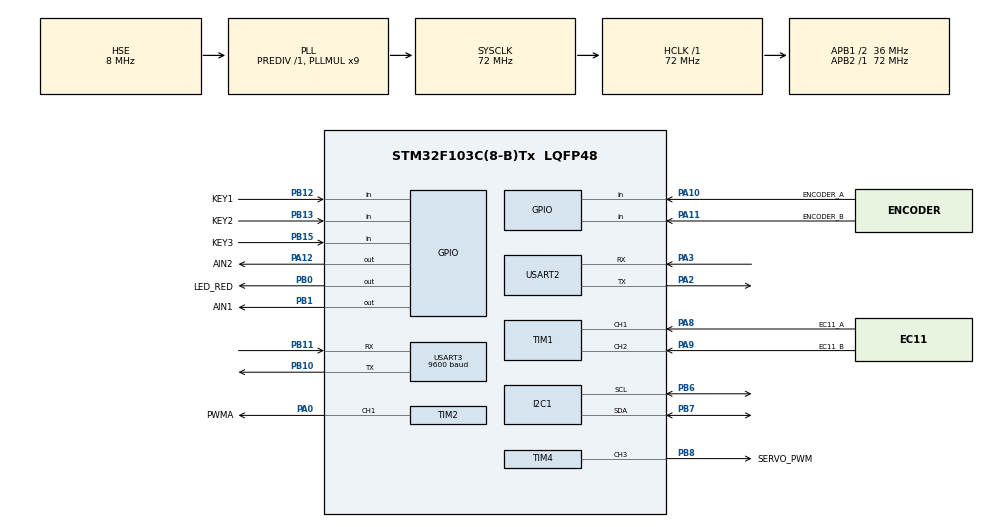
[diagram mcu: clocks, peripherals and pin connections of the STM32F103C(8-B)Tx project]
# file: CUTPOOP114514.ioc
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Dma.Request0=USART2_RX
Dma.USART2_RX.0.Direction=DMA_PERIPH_TO_MEMORY
Dma.USART2_RX.0.Instance=DMA1_Channel6
Dma.USART2_RX.0.MemDataAlignment=DMA_MDATAALIGN_BYTE
Dma.USART2_RX.0.MemInc=DMA_MINC_ENABLE
Dma.USART2_RX.0.Mode=DMA_NORMAL
Dma.USART2_RX.0.PeriphDataAlignment=DMA_PDATAALIGN_BYTE
Dma.USART2_RX.0.PeriphInc=DMA_PINC_DISABLE
Dma.USART2_RX.0.Priority=DMA_PRIORITY_LOW
Mcu.Family=STM32F1
Mcu.Name=STM32F103C(8-B)Tx
Mcu.Package=LQFP48
NVIC.DMA1_Channel6_IRQn=true\:0\:0\:false\:false\:true\:false\:true\:true
NVIC.PriorityGroup=NVIC_PRIORITYGROUP_4
NVIC.USART2_IRQn=true\:0\:0\:false\:false\:true\:true\:true\:true
NVIC.USART3_IRQn=true\:0\:0\:false\:false\:true\:true\:true\:true
PA0-WKUP.GPIO_Label=PWMA
PA0-WKUP.Signal=S_TIM2_CH1_ETR
PA10.GPIO_Label=ENCODER_A
PA10.GPIO_PuPd=GPIO_PULLUP
PA10.Signal=GPIO_Input
PA11.GPIO_Label=ENCODER_B
PA11.GPIO_PuPd=GPIO_PULLUP
PA11.Signal=GPIO_Input
PA12.GPIO_Label=AIN2
PA12.GPIO_Speed=GPIO_SPEED_FREQ_MEDIUM
PA12.Signal=GPIO_Output
PA13.Mode=Serial_Wire
PA13.Signal=SYS_JTMS-SWDIO
PA14.Mode=Serial_Wire
PA14.Signal=SYS_JTCK-SWCLK
PA2.Mode=Asynchronous
PA2.Signal=USART2_TX
PA3.Mode=Asynchronous
PA3.Signal=USART2_RX
PA8.GPIO_Label=EC11_A
PA8.Signal=S_TIM1_CH1
PA9.GPIO_Label=EC11_B
PA9.Signal=S_TIM1_CH2
PB0.GPIO_Label=LED_RED
PB0.GPIO_PuPd=GPIO_PULLUP
PB0.GPIO_Speed=GPIO_SPEED_FREQ_LOW
PB0.Signal=GPIO_Output
PB1.GPIO_Label=AIN1
PB1.GPIO_Speed=GPIO_SPEED_FREQ_MEDIUM
PB1.PinState=GPIO_PIN_RESET
PB1.Signal=GPIO_Output
PB10.Mode=Asynchronous
PB10.Signal=USART3_TX
PB11.Mode=Asynchronous
PB11.Signal=USART3_RX
PB12.GPIO_Label=KEY1
PB12.GPIO_PuPd=GPIO_PULLUP
PB12.Signal=GPIO_Input
PB13.GPIO_Label=KEY2
PB13.GPIO_PuPd=GPIO_PULLUP
PB13.Signal=GPIO_Input
PB15.GPIO_Label=KEY3
PB15.GPIO_PuPd=GPIO_PULLUP
PB15.Signal=GPIO_Input
PB6.Mode=I2C
PB6.Signal=I2C1_SCL
PB7.Mode=I2C
PB7.Signal=I2C1_SDA
PB8.GPIO_Label=SERVO_PWM
PB8.Signal=S_TIM4_CH3
PD0-OSC_IN.Mode=HSE-External-Oscillator
PD0-OSC_IN.Signal=RCC_OSC_IN
PD1-OSC_OUT.Mode=HSE-External-Oscillator
PD1-OSC_OUT.Signal=RCC_OSC_OUT
ProjectManager.HeapSize=0x200
ProjectManager.StackSize=0x400
ProjectManager.TargetToolchain=CMake
RCC.AHBFreq_Value=72000000
RCC.APB1CLKDivider=RCC_HCLK_DIV2
RCC.APB1Freq_Value=36000000
RCC.APB1TimFreq_Value=72000000
RCC.APB2Freq_Value=72000000
RCC.APB2TimFreq_Value=72000000
RCC.HCLKFreq_Value=72000000
RCC.PLLMUL=RCC_PLL_MUL9
RCC.PLLSourceVirtual=RCC_PLLSOURCE_HSE
RCC.SYSCLKFreq_VALUE=72000000
RCC.SYSCLKSource=RCC_SYSCLKSOURCE_PLLCLK
RCC.USBFreq_Value=72000000
SH.S_TIM1_CH1.0=TIM1_CH1,Encoder_Interface
SH.S_TIM1_CH2.0=TIM1_CH2,Encoder_Interface
SH.S_TIM2_CH1_ETR.0=TIM2_CH1,PWM Generation1 CH1
SH.S_TIM4_CH3.0=TIM4_CH3,PWM Generation3 CH3
TIM1.EncoderMode=TIM_ENCODERMODE_TI12
TIM2.Channel-PWM\ Generation1\ CH1=TIM_CHANNEL_1
TIM2.Period=99
TIM2.Prescaler=71
TIM4.Channel-PWM\ Generation3\ CH3=TIM_CHANNEL_3
TIM4.Period=19999
TIM4.Prescaler=71
USART2.VirtualMode=VM_ASYNC
USART3.BaudRate=9600
USART3.VirtualMode=VM_ASYNC
VP_TIM4_VS_ClockSourceINT.Mode=Internal
board=custom

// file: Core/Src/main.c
/* USER CODE BEGIN Header */
/**
  ******************************************************************************
  * @file           : main.c
  * @brief          : Main program body
  ******************************************************************************
  * @attention
  *
  * Copyright (c) 2026 STMicroelectronics.
  * All rights reserved.
  *
  * This software is licensed under terms that can be found in the LICENSE file
  * in the root directory of this software component.
  * If no LICENSE file comes with this software, it is provided AS-IS.
  *
  ******************************************************************************
  */
/* USER CODE END Header */
#include "main.h"
#include "dma.h"
#include "i2c.h"
#include "tim.h"
#include "usart.h"
#include "gpio.h"

/* USER CODE BEGIN Includes */
#include "led.h"
#include "key.h"
#include "ec11.h"
#include "encoder.h"
#include "tb6612.h"
#include "password.h"
#include "servo.h"
#include "uart.h"
#include "motor.h"
#include "motor_pid.h"
#include "draw.h"
#include "oled.h"
#include "font.h"
#include <stdio.h>
#include <string.h>
#include "vofa.h"
#include "pos_pid.h"
#include "cascade_pid.h"
#include "imu.h"
#include "Amadeus_Logo.h"
/* USER CODE END Includes */

/* USER CODE BEGIN PTD */
typedef enum {
    SYS_LOCK = 0,
    SYS_LED,
    SYS_SERVO,
    SYS_UART,
    SYS_MOTOR,
    SYS_SPEED_PID,
    SYS_POS_PID,
    SYS_CASCADE_PID,
    SYS_IMU
} SystemState;
/* USER CODE END PTD */

/* USER CODE BEGIN PV */
SystemState g_state = SYS_LOCK;
static uint8_t last_k1 = 1, last_k2 = 1, last_k3 = 1;
static uint32_t key_tick = 0;
static uint32_t oled_tick = 0;
static uint32_t key_lock_tick = 0;
/* USER CODE END PV */

void SystemClock_Config(void);

/* USER CODE BEGIN 0 */
void Key_Scan(void) {
    if (HAL_GetTick() - key_lock_tick < 200) return;

    if (HAL_GetTick() - key_tick < 10) return;
    key_tick = HAL_GetTick();

    uint8_t k1 = Key_Get_K1();
    uint8_t k2 = Key_Get_K2();
    uint8_t k3 = Key_Get_K3();

    if (last_k1 == 1 && k1 == 0) {
        if (g_state == SYS_LOCK) Password_Key_K1();
        else if (g_state == SYS_LED) LED_Key_K1();
        else if (g_state == SYS_SERVO) Servo_Key_K1();
        else if (g_state == SYS_UART) UART_Key_K1();
        else if (g_state == SYS_MOTOR) Motor_Key_K1();
        else if (g_state == SYS_SPEED_PID) {if (Motor_IsStall()) Motor_ClearStall();else SpeedPID_Enable(!SpeedPID_IsEnabled());}
        else if (g_state == SYS_POS_PID) {PosPID_ClearPos();}
        else if (g_state == SYS_CASCADE_PID) {CascadePID_Enable(!CascadePID_IsEnabled());}
    }

    static uint32_t k2_press_tick = 0;
    static uint8_t  k2_long_triggered = 0;
    if (k2 == 0) {
        if (k2_press_tick == 0) k2_press_tick = HAL_GetTick();
        else if (!k2_long_triggered && (HAL_GetTick() - k2_press_tick >= 2000)) {
            if (g_state == SYS_MOTOR) {
                g_state = SYS_SPEED_PID; SpeedPID_Enable(0);
            } else if (g_state == SYS_SPEED_PID || g_state == SYS_POS_PID) {
                g_state = SYS_MOTOR; Motor_Init();
            }
            key_lock_tick = HAL_GetTick();
            k2_long_triggered = 1;
        }
    }else{
        if (k2_press_tick > 0 && !k2_long_triggered) {
            if (g_state == SYS_LOCK) Password_Key_K2();
            else if (g_state == SYS_LED) { g_state = SYS_SERVO; key_lock_tick = HAL_GetTick(); }
            else if (g_state == SYS_SERVO) { g_state = SYS_UART; key_lock_tick = HAL_GetTick(); }
            else if (g_state == SYS_UART) { g_state = SYS_MOTOR; Motor_Init(); key_lock_tick = HAL_GetTick(); }
            else if (g_state == SYS_MOTOR) { g_state = SYS_SPEED_PID; SpeedPID_Enable(0); key_lock_tick = HAL_GetTick(); }
            else if (g_state == SYS_SPEED_PID) { g_state = SYS_POS_PID; PosPID_Enable(0); key_lock_tick = HAL_GetTick(); }
            else if (g_state == SYS_POS_PID) { g_state = SYS_CASCADE_PID; Motor_Init(); key_lock_tick = HAL_GetTick(); }
            else if (g_state == SYS_CASCADE_PID) { g_state = SYS_IMU; Motor_Init(); key_lock_tick = HAL_GetTick(); }
            else if (g_state == SYS_IMU) { g_state = SYS_LED; key_lock_tick = HAL_GetTick(); }
        }
        k2_press_tick = 0;
        k2_long_triggered = 0;
    }

    if (last_k3 == 1 && k3 == 0) {
        if (g_state == SYS_LOCK) {
            Password_Key_K3();
        } else {
            Password_Lock();
            g_state = SYS_LOCK;
            key_lock_tick = HAL_GetTick();
        }
    }

    last_k1 = k1; last_k2 = k2; last_k3 = k3;
}
/* USER CODE END 0 */

int main(void)
{

  /* MCU Configuration--------------------------------------------------------*/

  /* Reset of all peripherals, Initializes the Flash interface and the Systick. */
  HAL_Init();

  /* Configure the system clock */
  SystemClock_Config();

  /* Initialize all configured peripherals */
  MX_GPIO_Init();
  MX_DMA_Init();
  MX_I2C1_Init();
  MX_TIM2_Init();
  MX_TIM4_Init();
  MX_USART2_UART_Init();
  MX_TIM1_Init();
  MX_USART3_UART_Init();
  /* USER CODE BEGIN 2 */
  HAL_Delay(20);
  OLED_Init();
  OLED_NewFrame();
  OLED_DrawImage(0, 0, &Amadeus_Logo, OLED_COLOR_NORMAL);
  OLED_ShowFrame();
  HAL_Delay(2000);
  OLED_NewFrame();
  OLED_ShowFrame();
  Password_Init();
  LED_Init();
  Servo_Init();
  UART_Init();
  TB6612_Init();
  Motor_Init();
  HAL_TIM_Encoder_Start(&htim1, TIM_CHANNEL_ALL);
  __HAL_TIM_SET_COUNTER(&htim1, 0);

  /* USER CODE END 2 */

  /* Infinite loop */
  /* USER CODE BEGIN WHILE */
  while (1)
  {
    Encoder_Scan();
    Key_Scan();
    Password_Task();
    UART_Task();
    LED_Task();

    if (Password_IsUnlocked() && g_state == SYS_LOCK) {
        g_state = SYS_LED;
    }
    if (g_state == SYS_LED) {
        LED_Task();
    }
    else if (g_state == SYS_SERVO) {
        int8_t dir = EC11_Scan();
        if (dir == 1) Servo_SetAngle(Servo_GetAngle() + 5);
        else if (dir == -1) Servo_SetAngle(Servo_GetAngle() - 5);
    }
    else if (g_state == SYS_MOTOR) {
        Motor_EC11_Scan();
    }
    else if (g_state == SYS_SPEED_PID) {
        SpeedPID_EC11_Scan();
    }
    else if (g_state == SYS_POS_PID) {
        PosPID_EC11_Scan();
    }
    else if (g_state == SYS_CASCADE_PID) {
        CascadePID_EC11_Scan();
    }

    if (HAL_GetTick() - oled_tick >= 200) {
        oled_tick = HAL_GetTick();
        if (g_state == SYS_MOTOR) {
            Motor_Task();
        } else if (g_state == SYS_SPEED_PID) {
            Motor_Task();
            SpeedPID_Task();
            Motor_CheckStall();
            Vofa_SendWave(SpeedPID_GetTarget(),Motor_GetRPM(), SpeedPID_GetOutput(), SpeedPID_GetTarget() - Motor_GetRPM());
        }else if (g_state == SYS_POS_PID) {
            Motor_Task();
            PosPID_Task();
            Motor_CheckStall();
        } else if (g_state == SYS_CASCADE_PID) {
            Motor_Task();
            CascadePID_Task();
            Motor_CheckStall();
            Vofa_SendWave(CascadePID_GetTgtPos(), (int16_t)CascadePID_GetActPos(), CascadePID_GetTgtRPM(), CascadePID_GetActRPM());
        }else if (g_state == SYS_IMU) {
             IMU_Init();
            static uint32_t imu_tick = 0;
            if (g_state == SYS_IMU && (HAL_GetTick() - imu_tick >= 100)) {
                imu_tick = HAL_GetTick();
                Vofa_SendIMU(IMU_GetRoll(), IMU_GetPitch(), IMU_GetYaw());
            }
        }

    Draw_UI();
    }
    /* USER CODE END WHILE */

   }
}

void SystemClock_Config(void)
{
  RCC_OscInitTypeDef RCC_OscInitStruct = {0};
  RCC_ClkInitTypeDef RCC_ClkInitStruct = {0};

  /** Initializes the RCC Oscillators according to the specified parameters
  * in the RCC_OscInitTypeDef structure.
  */
  RCC_OscInitStruct.OscillatorType = RCC_OSCILLATORTYPE_HSE;
  RCC_OscInitStruct.HSEState = RCC_HSE_ON;
  RCC_OscInitStruct.HSEPredivValue = RCC_HSE_PREDIV_DIV1;
  RCC_OscInitStruct.HSIState = RCC_HSI_ON;
  RCC_OscInitStruct.PLL.PLLState = RCC_PLL_ON;
  RCC_OscInitStruct.PLL.PLLSource = RCC_PLLSOURCE_HSE;
  RCC_OscInitStruct.PLL.PLLMUL = RCC_PLL_MUL9;
  if (HAL_RCC_OscConfig(&RCC_OscInitStruct) != HAL_OK)
  {
    Error_Handler();
  }

  /** Initializes the CPU, AHB and APB buses clocks
  */
  RCC_ClkInitStruct.ClockType = RCC_CLOCKTYPE_HCLK|RCC_CLOCKTYPE_SYSCLK
                              |RCC_CLOCKTYPE_PCLK1|RCC_CLOCKTYPE_PCLK2;
  RCC_ClkInitStruct.SYSCLKSource = RCC_SYSCLKSOURCE_PLLCLK;
  RCC_ClkInitStruct.AHBCLKDivider = RCC_SYSCLK_DIV1;
  RCC_ClkInitStruct.APB1CLKDivider = RCC_HCLK_DIV2;
  RCC_ClkInitStruct.APB2CLKDivider = RCC_HCLK_DIV1;

  if (HAL_RCC_ClockConfig(&RCC_ClkInitStruct, FLASH_LATENCY_2) != HAL_OK)
  {
    Error_Handler();
  }
}

void Error_Handler(void)
{
  __disable_irq();
  while (1)
  {
  }
}
